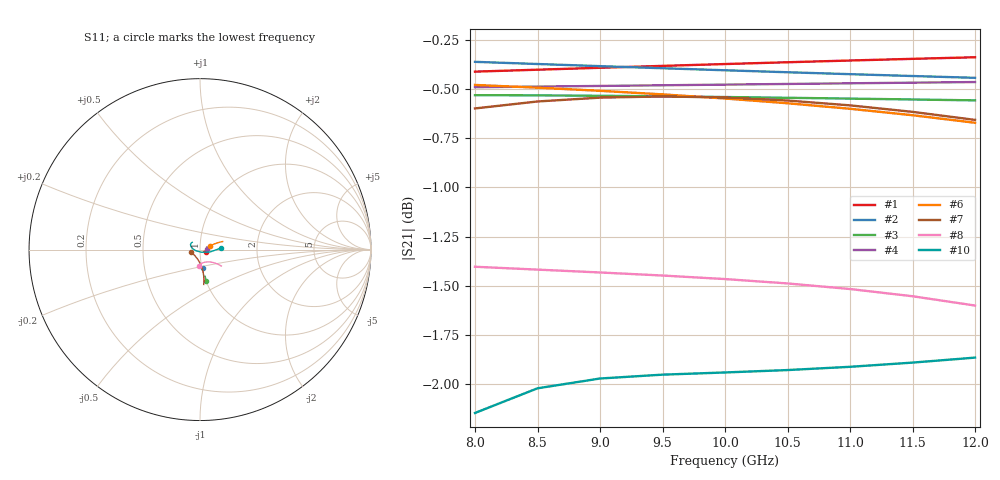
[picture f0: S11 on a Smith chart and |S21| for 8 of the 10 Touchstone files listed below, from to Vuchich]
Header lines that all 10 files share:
# hz S ma R 50
! 2 Port Network Data from SP1.SP block
! freq  magS11  angS11  magS21  angS21  magS12  angS12  magS22  angS22
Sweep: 8 GHz to 12 GHz
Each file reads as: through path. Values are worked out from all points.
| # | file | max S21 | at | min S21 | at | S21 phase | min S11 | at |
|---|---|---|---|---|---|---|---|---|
| 1 | 5.625_30.5_0.s2p | -0.34 dB | 12 GHz | -0.4 dB | 8 GHz | -6 deg at 10 GHz | -32.3 dB | 12 GHz |
| 2 | 5.625_30_1.s2p | -0.36 dB | 8 GHz | -0.4 dB | 12 GHz | -1 deg at 10 GHz | -19.6 dB | 10.5 GHz |
| 3 | 11.25_29_1.s2p | -0.53 dB | 8 GHz | -0.6 dB | 12 GHz | 3 deg at 10 GHz | -16.0 dB | 12 GHz |
| 4 | 11.25_30_0.s2p | -0.46 dB | 12 GHz | -0.5 dB | 8 GHz | -8 deg at 10 GHz | -27.5 dB | 11.5 GHz |
| 5 | 22.5_12_0.s2p | -0.47 dB | 10 GHz | -0.5 dB | 12 GHz | -25 deg at 10 GHz | -24.8 dB | 8 GHz |
| 6 | 45_10_0.s2p | -0.48 dB | 8 GHz | -0.7 dB | 12 GHz | -37 deg at 10 GHz | -24.1 dB | 8 GHz |
| 7 | 45_11_1.s2p | -0.54 dB | 9.5 GHz | -0.7 dB | 12 GHz | 7 deg at 10 GHz | -26.7 dB | 8.5 GHz |
| 8 | 90_8_0.s2p | -1.40 dB | 8 GHz | -1.6 dB | 12 GHz | -86 deg at 10 GHz | -22.1 dB | 9.5 GHz |
| 9 | 90_8_1.s2p | -1.38 dB | 8.5 GHz | -2.0 dB | 12 GHz | 3 deg at 10 GHz | -28.2 dB | 8 GHz |
| 10 | 180_11_1.s2p | -1.87 dB | 12 GHz | -2.1 dB | 8 GHz | 75 deg at 10 GHz | -34.8 dB | 9 GHz |
